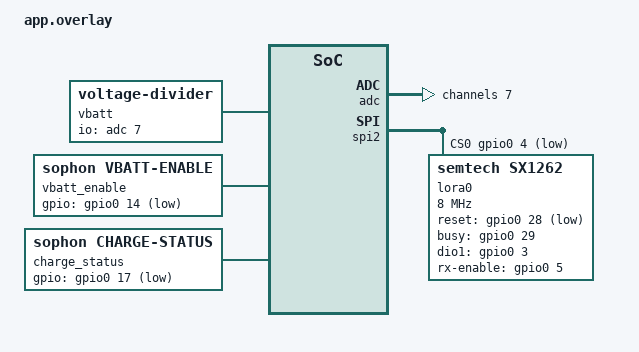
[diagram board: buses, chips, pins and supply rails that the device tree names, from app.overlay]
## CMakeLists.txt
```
cmake_minimum_required(VERSION 3.20.0)

find_package(Zephyr REQUIRED HINTS $ENV{ZEPHYR_BASE})
project(sophon)

# Freestanding app: the Zephyr revision comes from whatever ~/zephyrproject is
# at, not from this repo (there is no west.yml pinning it here). Fail at
# configure time with a readable message rather than on some unrelated compile
# error three layers down.
#
# Two traps here, both verified against cmake/modules/version.cmake:
#   - the variable is ZEPHYR_VERSION_CODE, NOT CONFIG_ZEPHYR_VERSION_CODE.
#     Guarding on the latter is silently dead -- it is never defined, so the
#     check passes on every version.
#   - ZEPHYR_VERSION is a BOOLEAN (set to TRUE), not a version string. The
#     human-readable one is PROJECT_VERSION_STR.
#
# The code is a decimal int: (major << 16) | (minor << 8) | patchlevel.
# 4.5.0 (#379): the XIAO nRF54LM20A builds rely on its board-file and Bluetooth
# controller fixes (clock nodes, the RRAM write sync, the RRAM load commit), and
# the nRF52840 overlay relies on its ADC cells. sophon-installer and
# sophon-dumper stay at 4.4.0: nothing in them needs 4.5.
set(SOPHON_MIN_ZEPHYR_CODE 263424) # 4.5.0

if(ZEPHYR_VERSION_CODE LESS SOPHON_MIN_ZEPHYR_CODE)
  message(FATAL_ERROR
    "Sophon requires Zephyr >= 4.5.0; found ${PROJECT_VERSION_STR} at ${ZEPHYR_BASE}. "
    "Run 'west update' in ~/zephyrproject.")
endif()

target_sources(app PRIVATE
  src/main.c
  src/battery.c
  src/ble.c
  src/config.c
  src/ident.c
  src/imu.c
  src/lora_ber.c
  src/lora_codec.c
  src/lora_lock.c
  src/lora_image.c
  src/lora_link.c
  src/lora_presets.c
  src/role.c
  src/slow_work.c
)

# Build timestamp, regenerated on every build.
#
# The second OUTPUT below is a file the command never creates, which is the
# standard way to force a custom command to re-run each time. Without it the
# timestamp would only move when something else triggered a rebuild of this
# rule, which is exactly the staleness the generator exists to avoid.
#
# Own directory rather than Zephyr's generated one: in this file
# PROJECT_BINARY_DIR is the build root, while Zephyr's headers land under
# build/zephyr/include/generated -- a distinction that is easy to get wrong and
# fails only at compile time.
set(SOPHON_GEN_DIR ${PROJECT_BINARY_DIR}/sophon_generated)
set(SOPHON_BUILD_TIME_H ${SOPHON_GEN_DIR}/sophon_build_time.h)

add_custom_command(
  OUTPUT ${SOPHON_BUILD_TIME_H} sophon_build_time_always
  COMMAND ${CMAKE_COMMAND} -DOUT_FILE=${SOPHON_BUILD_TIME_H}
          -P ${CMAKE_CURRENT_SOURCE_DIR}/cmake/gen_build_time.cmake
  COMMENT "Generating Sophon build timestamp"
)
add_custom_target(sophon_build_time DEPENDS ${SOPHON_BUILD_TIME_H})
add_dependencies(app sophon_build_time)
target_include_directories(app PRIVATE ${SOPHON_GEN_DIR})
```

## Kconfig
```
# Sophon application options. Zephyr picks this file up from the application
# directory by itself; it must end by sourcing Kconfig.zephyr.

menu "Sophon LoRa relay (#303)"

config SOPHON_LORA_PRESET
	int "LoRa air-rate preset id"
	range 0 8
	default 7
	help
	  Index into src/lora_presets.c, the same ids LORA-PROTOCOL.md § Presets
	  lists: 0 V0, 1 V1, 2 V3, 3 V3b, 4 V4, 5 V5, 6 V5b, 7 V6, 8 V6b.
	  Both ends are built from one image, so they always agree. V6 (V3 at
	  +22 dBm) is the default (#321); the walk test may still choose another.

config SOPHON_LORA_FREQ_HZ
	int "LoRa carrier frequency (Hz)"
	default 915000000
	help
	  A single fixed channel. At 500 kHz bandwidth that needs no frequency
	  hopping under FCC 15.247 (LORA-UPDATED-PLAN.md § Radio parameters).

config SOPHON_LORA_PEER_ID
	hex "Sensor id the gateway accepts (0 = lock onto the first heard)"
	range 0x0 0xffff
	default 0x0
	help
	  The low 16 bits of the sensor's FICR id -- the XXXX of its
	  Sophon-XXXX name. The id travels only in status trailers, so the
	  filter is applied to those; see LORA-PROTOCOL.md.

endmenu

source "Kconfig.zephyr"
```

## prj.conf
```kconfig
# Sophon -- BLE motion peripheral (#208)

CONFIG_BT=y
CONFIG_BT_PERIPHERAL=y
CONFIG_BT_MAX_CONN=1
CONFIG_BT_DEVICE_NAME="Sophon"
# Required to replace the name at runtime with the FICR-derived one.
CONFIG_BT_DEVICE_NAME_DYNAMIC=y
# "Sophon-A3F2" is 11 chars; default 28 just wastes RAM.
CONFIG_BT_DEVICE_NAME_MAX=16

# ATT MTU is left at the default 23 deliberately -- see PROTOCOL.md. The 18-byte
# frame fits one radio packet, so no fragmentation or reassembly is needed.
# No CONFIG_BT_SMP: the link is unencrypted and does not pair.

# --- Transmit buffer pools ---
#
# Zephyr's default is 3 buffers in flight, which is the floor and was chosen for
# a stack that sends occasionally. This one notifies at ~54 Hz.
#
# The arithmetic: a sample every 18.4 ms against a connection interval iOS may
# set as high as 45 ms means up to ~2.5 samples accumulate between radio events.
# Three buffers therefore have almost no margin -- one missed connection event,
# or a concurrent read of the stats characteristic, exhausts the pool and the
# notify is refused. Measured on hardware at the default: about one refusal
# every 80 seconds over a 17-minute run (13 in 56000 frames).
#
# 8 covers two consecutive missed events plus a concurrent read. Raising the
# pool attacks the cause; the alternative -- retrying a refused frame -- only
# treats the symptom and pays for it in tail latency.
#
# Confirmed on hardware, same device and same usage on both sides so the
# comparison is like for like -- an iPad mini with the app in the foreground:
#
#   3 buffers: 13 refusals in 56000 frames (about one per 80 seconds)
#   8 buffers:  0 refusals in 84000 frames
#
# Measure this on a device that stays awake. A phone that sleeps produces
# refusals no pool size can prevent: iOS stretches the connection interval for
# power, so several samples pile up between radio events, and deep sleep drops
# the link outright and discards whatever was queued. A sleeping iPhone logged
# 26 refusals in 51000 frames on this same firmware -- that number measures
# iOS's power management, not this setting, and raising the pool will not move
# it. 8 is where the returns stop being worth the RAM.
#
# These three must move together: the smallest of them is what actually binds.
# There were four until Zephyr 4.5 removed CONFIG_BT_CONN_TX_MAX (#379): the
# number of pending TX buffers with a callback now always follows
# CONFIG_BT_BUF_ACL_TX_COUNT, so it is still 8.
CONFIG_BT_BUF_ACL_TX_COUNT=8
CONFIG_BT_L2CAP_TX_BUF_COUNT=8
CONFIG_BT_ATT_TX_COUNT=8

# Per-chip identity from the nRF52840 FICR, so one image suits every board.
CONFIG_HWINFO=y

# The XIAO has no UART-to-USB bridge, so USB CDC ACM is the only console --
# but nothing is set here for it. The board already does the whole job via
# boards/common/usb/Kconfig.cdc_acm_serial.defconfig, which turns on
# USB_DEVICE_STACK_NEXT, CDC_ACM_SERIAL_INITIALIZE_AT_BOOT, and a 4000 ms
# LOG_PROCESS_THREAD_STARTUP_DELAY_MS so the boot banner survives enumeration.
#
# Setting CONFIG_USB_DEVICE_STACK=y here links the LEGACY stack alongside the
# new one and the build fails at link time with a duplicate __device_dts_ord_*
# symbol. If that error appears, something has re-added the old stack.

CONFIG_LOG=y
CONFIG_GPIO=y

# --- IMU: LSM6DS3TR-C on I2C 0x6a, driven by st,lsm6dsl (#209) ---
CONFIG_SENSOR=y
CONFIG_LSM6DSL=y
# CONFIG_I2C is selected by the driver. CONFIG_REGULATOR is already on in the
# board defconfig, which is what brings the sensor's power rail (gpio1 8) up --
# it is regulator-boot-on, so nothing here has to sequence it.

# Data-ready trigger on gpio0 11, so sampling is paced by the sensor rather than
# by a timer that drifts against it.
#
# OWN_THREAD, not GLOBAL_THREAD: the handler does a blocking I2C read ~54 times a
# second. On the global thread that lands on the system work queue, which this
# app also uses to transmit frames, restart advertising after a disconnect, and
# summarise the transmit counters -- putting a 54 Hz blocking I2C consumer in
# front of all three delays them. A dedicated thread costs a stack and isolates
# the sampling path from the transmit path.
#
# Note the handler does NOT transmit; it hands the frame to the sysqueue. That
# separation is mandatory, not stylistic -- bt_gatt_notify() blocks with
# K_FOREVER off-sysqueue, and a blocked handler strands the data-ready line and
# kills the stream for good. See the tx_queue comment in src/main.c.
CONFIG_LSM6DSL_TRIGGER_OWN_THREAD=y
# 1024 is the driver default, sized for a handler that only reads a sensor --
# which, since the notify moved to the sysqueue, is now all this one does. Kept
# at 2048 for margin over the driver's float-based unit conversion; it is 1 KB
# against 240 KB free.
CONFIG_LSM6DSL_THREAD_STACK_SIZE=2048

# ODR code 3 = 52 Hz on both channels. Not 50: the LSM6DSL's rate grid has no
# such step (12.5 / 26 / 52 / 104 ...), and 52 is the nearest. See imu.h for why
# taking the sensor's own rate beats resampling it onto a 50 Hz timer.
#
# Both channels must match -- the data-ready line is the OR of the two.
CONFIG_LSM6DSL_ACCEL_ODR=3
CONFIG_LSM6DSL_GYRO_ODR=3

# Full-scale ranges. Both are pinned by the frozen 18-byte frame, not by taste:
#
#   gyro 250 dps -- centi-deg/s in an int16 saturates at 327.67 dps, so this is
#     the largest standard range the wire format can carry. 500 would clip every
#     fast rotation into a flat top that still looks like data.
#   accel 4 g -- the wire quantises to 1 mg and the sensor resolves 0.122 mg/LSB
#     at this range, so the frame is the limit either way; the choice is purely
#     about where clipping starts. 4 g clears ordinary handling of a strapped
#     object. Raising it to 8 or 16 costs nothing on the wire.
#
# imu.c asserts both at compile time.
CONFIG_LSM6DSL_ACCEL_FS=4
CONFIG_LSM6DSL_GYRO_FS=250

# Radio transmit power.
#
# -4 dBm, arrived at by MEASUREMENT after stepping up twice.
#
# Measured on this board, streaming to an iPad:
#   -16 dBm  lost-on-link climbed sharply beyond ~1 m
#    -8 dBm  still climbing at desk range, line of sight
#    -4 dBm  <- current
#
# A free-space link budget predicted ~8-10 m at -16 dBm. It was wrong by about an
# order of magnitude, and the same model then over-predicted -8 dBm too, so no
# distance figure here is derived any more. What the budget leaves out is most of
# what matters: the XIAO's small chip antenna, the board lying flat on a desk,
# 2.4 GHz congestion, and the fact that a CLEAN link needs far more margin than a
# link that merely connects.
#
# Note the baseline this departs from. Every prior Sophon measurement -- the
# 84,000-frame iPad runs in #209, and all of #226 and #228 -- was taken at 0 dBm,
# Zephyr's default. Lowering power is a change to a validated configuration, so
# if loss is still elevated here, go back to CONFIG_BT_CTLR_TX_PWR_0 rather than
# continuing to inch upward; the airtime saving is not worth an unreliable link.

# This value is ALSO advertised, as the standard TX Power AD type -- see
# src/version.h and PROTOCOL.md. A central estimates distance as
# (TX power - RSSI), so a value here that the radio does not actually use would
# corrupt that estimate on every scanner, not just ours.
#
# Which is why the choice below matters. The nRF52840 radio has these steps, and
# ONLY these (see hal_radio_tx_power_value() in
# zephyr/subsys/bluetooth/controller/ll_sw/nordic/hal/nrf5/radio/radio_nrf52840.h):
#
#   CONFIG_BT_CTLR_TX_PWR_PLUS_8     +8 dBm   max; needs HAS_HW_NRF_RADIO_TX_PWR_HIGH (this SoC has it)
#   CONFIG_BT_CTLR_TX_PWR_PLUS_7     +7 dBm
#   CONFIG_BT_CTLR_TX_PWR_PLUS_6     +6 dBm
#   CONFIG_BT_CTLR_TX_PWR_PLUS_5     +5 dBm
#   CONFIG_BT_CTLR_TX_PWR_PLUS_4     +4 dBm
#   CONFIG_BT_CTLR_TX_PWR_PLUS_3     +3 dBm
#   CONFIG_BT_CTLR_TX_PWR_PLUS_2     +2 dBm
#   CONFIG_BT_CTLR_TX_PWR_0           0 dBm   Zephyr's default
#   CONFIG_BT_CTLR_TX_PWR_MINUS_4    -4 dBm   <-- selected
#   CONFIG_BT_CTLR_TX_PWR_MINUS_8    -8 dBm   measured: still lossy at desk range, line of sight
#   CONFIG_BT_CTLR_TX_PWR_MINUS_12  -12 dBm
#   CONFIG_BT_CTLR_TX_PWR_MINUS_16  -16 dBm   measured: lossy beyond ~1 m
#   CONFIG_BT_CTLR_TX_PWR_MINUS_20  -20 dBm
#   CONFIG_BT_CTLR_TX_PWR_MINUS_40  -40 dBm   near-field only
#
# Kconfig offers more options than that (-1, -2, -3, -9, -10, -14, ...) because
# the choice is shared across Nordic SoC families. On THIS one they are not real:
# hal_radio_tx_power_value() rounds DOWN through a >= chain, so -1 dBm programs
# the -4 dBm register while CONFIG_BT_CTLR_TX_PWR_DBM still reports -1 -- and
# that reported value is what we advertise. Picking a non-native step therefore
# puts a 3 dB lie on the air. Use only the steps listed above.
CONFIG_BT_CTLR_TX_PWR_MINUS_4=y

# --- Battery voltage: 1M/510k divider on AIN7, gated by P0.14 (#268) ---
#
# CONFIG_ADC is pulled in by the voltage-divider driver, but is stated here
# because it is the thing a reader looks for and an implicit dependency is not
# obvious from this file.
#
# No fuel gauge exists on this board -- the BQ25101 is a charger -- so there is
# deliberately no CONFIG_FUEL_GAUGE and nothing derives a percentage or a
# capacity. Terminal voltage is the only quantity actually measured; see
# PROTOCOL.md for why anything further would be modelled rather than observed.
CONFIG_ADC=y
CONFIG_VOLTAGE_DIVIDER=y

# No CONFIG_PM_DEVICE, and no power-gpios on the vbatt node. Both were added to
# make the driver release P0.14 between samples; that turned out to be the one
# thing this board must not do. Seeed's FAQ warns that P0.14 HIGH can push P0.31
# to its 3.6 V limit, and the divider arithmetic puts it there exactly at a full
# pack. battery.c holds the pin low for the life of the application instead.
#
# Dropping CONFIG_PM_DEVICE also removes the trip hazard that killed the IMU:
# enabling device runtime PM alongside it changed every device's lifecycle and
# stopped the LSM6DS3TR-C data-ready trigger firing.

# --- MCUmgr: SMP over BLE, for OTA with rollback (#271) ---
#
# Lives in mcuboot/app-mcuboot.conf, which scripts/build.sh applies to MCUboot
# builds only (#306). The image manager needs a slot0_partition that only the
# MCUboot partition overlay defines, so having it here broke every UF2 build
# from #271 until #306.

# ATT MTU deliberately UNCHANGED at 23 for now. Raising it to 247 with DLE is
# worth roughly 4-6x of wall clock by the arithmetic in #271, but that is a
# model: the first upload is measured at the default so the raise can be
# justified by a before/after rather than by prediction.

# --- LoRa: Seeed Wio-SX1262 on SPI (#303) ---
#
# Both boot paths, so the UF2 build keeps compiling (#306). The node is in
# boards/common/wio-sx1262.dtsi with zephyr,deferred-init; src/role.c decides
# whether to start it.
#
# loramac-node is named rather than left to the backend choice's ordering: the
# native driver is the other candidate for an SX1262, and #303 chose this one
# (see role.c for the one property of it that needs guarding).
CONFIG_SPI=y
CONFIG_LORA=y
CONFIG_LORA_MODULE_BACKEND_LORAMAC_NODE=y
```

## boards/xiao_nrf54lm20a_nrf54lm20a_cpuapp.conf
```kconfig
# Sophon on the XIAO nRF54LM20A Sense: board-specific Kconfig (#370), merged on
# top of prj.conf by Zephyr for this board only.

# --- RRAM writes time out while a BLE link is up -------------------------------
#
# With Zephyr's own controller (BT_LL_SW_SPLIT) the RRAM driver synchronises
# every write with the radio (SOC_FLASH_NRF_RADIO_SYNC_TICKER), and its write
# buffer then defaults to ONE 128-bit line. That sets the radio slot it asks for
# to FLASH_SLOT_WRITE = 500 us (soc_flash_nrf_rram.c). The ticker backend
# (subsys/bluetooth/controller/flash/soc_flash_nrf_ticker.c) sets the slot
# interval to that duration minus FLASH_SYNC_SWITCHING_TIME, 1500 + 200 =
# 1700 us -- and 500 - 1700 underflows a uint32_t. The first slot runs; the next
# is scheduled impossibly far away; and on the nRF54L each slot writes a single
# line, so any write longer than one line never finishes and fails after
# FLASH_TIMEOUT_MS (42 ms x 381 pages x 1.5 = ~24 s) with -ETIMEDOUT.
#
# Seen on Sophon-F9B0 (#370): an MCUmgr image upload over BLE failed at its
# first flush, `flash_write error -116 offset=0x00103000`, 25 s in. Anything
# that writes RRAM while connected -- OTA, and the config record -- hits it.
#
# 32 lines, the maximum, gives an 8000 us slot and a 6300 us interval. With it
# the same upload took 22 s and the full test / revert / confirm cycle passed.
# Reported upstream with the other board findings (#375, #376); remove this
# once the driver or the ticker handles short slots.
CONFIG_NRF_RRAM_WRITE_BUFFER_SIZE=32
```

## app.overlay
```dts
/*
 * Battery voltage sensing on the XIAO nRF52840 (#268).
 *
 * The board files define nothing for this -- no divider node, no named enable
 * pin -- and `&adc` is enabled with no channel children, so both halves below
 * have to come from the application.
 *
 * `app.overlay` rather than `boards/xiao_ble_nrf52840_sense.overlay` because
 * the divider is on the XIAO nRF52840 module itself, shared by the Sense and
 * the plain variant -- and the Sense image runs on a plain board too
 * (Sophon-01A7, #301).
 */

#include <zephyr/dt-bindings/adc/adc.h>
#include <zephyr/dt-bindings/adc/nrf-saadc.h>
#include <zephyr/dt-bindings/gpio/gpio.h>
#include <zephyr/dt-bindings/lora/sx126x.h>

/ {
	vbatt: vbatt {
		compatible = "voltage-divider";
		io-channels = <&adc 7>;

		/*
		 * R16 = 1M 1% upper (from VBAT), R17 = 499k 1% lower (to P0.14).
		 *
		 * From the KiCad SOURCE, not from a PDF export -- and the difference
		 * mattered. Seeed publishes two zips: the wiki's
		 * Seeed_Studio_XIAO_nRF52840_Plus_SCH_PCB_v1.1.zip contains a PDF of
		 * board rev **v1.0**, where R17 is 510k, while
		 * Seeed_Studio_XIAO_nRF52840_Plus.zip carries the .kicad_sch for
		 * **v1.1** with R17 = 499k. The wiki zip is NAMED v1.1 and holds the
		 * v1.0 schematic, which is how the wrong value got in here first.
		 *
		 * 510k vs 499k is a 1.46% change in the ratio -- about 60 mV at a
		 * full pack. Exactly the class of error that produces a completely
		 * plausible reading, which is why this is taken from the design
		 * source rather than an export or from recollection.
		 *
		 * Netlist-confirmed, not read off a picture:
		 *   VBAT (U2.A1 OUT, BAT0, C30) - R16.1
		 *   R16.2 = R17.1 = P0.31_AIN7_BAT (U1.A8)
		 *   R17.2 = P0.14_~{READ_BAT} (U1.AC9)
		 *
		 * `output-ohms` is the LOWER leg and `full-ohms` the whole path.
		 * Swapping them scales every reading by a constant.
		 *
		 * 1% on each bounds the ratio error at about +/-1.35%, roughly
		 * +/-55 mV at a full pack, before the SAADC's own gain and reference
		 * error. Do not present this to more precision than that.
		 *
		 * UNRESOLVED: which revision this board is. A meter across the pack
		 * settles it -- the two configurations differ by ~60 mV, well inside
		 * what any meter resolves. See TEST-PLAN section 5.
		 */
		output-ohms = <499000>;
		full-ohms = <(1000000 + 499000)>;

		/*
		 * NO power-gpios, deliberately -- P0.14 is held low permanently and
		 * battery.c owns it. Handing it to the driver means the driver
		 * RELEASES it between samples, and on this board there is no safe
		 * released state.
		 *
		 * Seeed's own FAQ: "When P0.14 is set HIGH, the battery voltage
		 * reading path is disabled and P0.31 may reach the input voltage
		 * limit of 3.6V, posing a risk of damaging the P0.31 pin."
		 *
		 * The arithmetic agrees. P0.14 is the divider's LOW leg, so with it
		 * driven high AIN7 sits at 3.3 + (Vbat - 3.3) * 499/1499, which at a
		 * full 4.2 V pack is exactly 3.60 V -- the absolute maximum. Leaving
		 * the pin high-impedance is worse: nothing holds the node down, so
		 * R16 pulls it to the full pack voltage and the ESD clamp conducts.
		 *
		 * Holding it low keeps AIN7 at ~1.4 V, which is the only state that
		 * is unconditionally safe. The cost is the divider drawing ~2.8 uA
		 * continuously -- about 25 mAh a year, against a 200 mAh pack whose
		 * own self-discharge is several times that. Worth paying.
		 *
		 * Recorded because the enable pin LOOKS like a power-saving control
		 * and inviting it to save power is what creates the hazard.
		 */

	};

	/*
	 * The enable pin as a plain GPIO the application drives, deliberately not
	 * as the divider's `power-gpios`. See the note above.
	 */
	vbatt_enable: vbatt-enable {
		compatible = "sophon,vbatt-enable";
		gpios = <&gpio0 14 GPIO_ACTIVE_LOW>;
	};

	/*
	 * The charger's /CHG (#323): BQ25101 ball C1, open drain, low while
	 * charging. The net also carries the green charge LED from 3V3 through
	 * R5, which pulls a released pin only weakly toward 3V3 -- hence the
	 * internal pull-up. Harmless even if the part were the BQ25100, whose C1
	 * is PRETERM: the LED already ties that net to 3V3.
	 */
	charge_status: charge-status {
		compatible = "sophon,charge-status";
		gpios = <&gpio0 17 (GPIO_ACTIVE_LOW | GPIO_PULL_UP)>;
	};
};

&adc {
	#address-cells = <1>;
	#size-cells = <0>;

	/*
	 * AIN7 = P0.31, fixed silicon mapping. Note AIN6 is P0.30, which the
	 * board uses for LED1 -- the neighbouring channel is already spoken
	 * for, so AIN7 is not merely free but the correct choice.
	 *
	 * Gain 1/4 against the internal 0.6 V reference gives a 2.4 V full
	 * scale. A 4.2 V pack through this divider presents
	 * 4.2 * 510/1510 = 1.42 V, so there is headroom without wasting range:
	 * gain 1/2 (1.2 V FS) would clip, and 1/6 (3.6 V FS) would throw away
	 * a third of the resolution.
	 */
	channel@7 {
		reg = <7>;
		zephyr,gain = "ADC_GAIN_1_4";
		zephyr,reference = "ADC_REF_INTERNAL";
		zephyr,vref-mv = <600>;
		/*
		 * 40 us, the longest the SAADC offers. The source is the divider's
		 * Thevenin resistance, 1M || 499k = 333 kOhm, with no capacitor on
		 * AIN7 to hold the node. The nRF52840 PS (SAADC, Acquisition time,
		 * Table 1) allows 100 kOhm at 10 us and 400 kOhm at 20 us, the
		 * shortest that covers it; 40 us allows 800 kOhm, for margin. At
		 * the 10 us default the sampling capacitor did not charge in time:
		 * readings came out 100-300 mV low, by an amount that varied with
		 * the level (#319). At 40 us a pack metered at 4.08 V reads 4.03 V,
		 * within the divider's tolerance, and the charger's 4.2 V
		 * regulation reads 4.2 V.
		 */
		zephyr,acquisition-time = <ADC_ACQ_TIME(ADC_ACQ_TIME_MICROSECONDS, 40)>;
		zephyr,resolution = <12>;
		zephyr,input-positive = <NRF_SAADC_AIN7>;
	};
};

/*
 * Seeed Wio-SX1262 for XIAO (#303). Same pins on the sensor and the gateway;
 * from Meshtastic's seeed_xiao_nrf52840_kit/variant.h, checked against
 * seeed_xiao_connector.dtsi. See LORA-PLAN.md § Hardware / wiring.
 *
 *   NSS D4 P0.04   DIO1 D1 P0.03   RESET D2 P0.28   BUSY D3 P0.29   RXEN D5 P0.05
 *   SCK/MISO/MOSI D8/D9/D10 = xiao_spi (spi2)
 *
 * D4/D5 are xiao_i2c's pins, and Sophon puts nothing on that bus -- the Sense
 * IMU is on the internal i2c0 -- so i2c1 is disabled to free them.
 *
 * zephyr,deferred-init: the loramac-node driver's SX126xWaitOnBusy() has no
 * timeout, and on a board with no Wio fitted BUSY floats. src/role.c checks
 * the radio is really there (it reads the sync-word register over raw SPI)
 * before calling device_init(); a board without one never runs the driver.
 */
&i2c1 {
	status = "disabled";
};

&spi2 {
	status = "okay";
	cs-gpios = <&gpio0 4 GPIO_ACTIVE_LOW>;

	lora0: lora@0 {
		compatible = "semtech,sx1262";
		reg = <0>;
		spi-max-frequency = <DT_FREQ_M(8)>;
		reset-gpios = <&gpio0 28 GPIO_ACTIVE_LOW>;
		busy-gpios = <&gpio0 29 GPIO_ACTIVE_HIGH>;
		dio1-gpios = <&gpio0 3 GPIO_ACTIVE_HIGH>;
		rx-enable-gpios = <&gpio0 5 GPIO_ACTIVE_HIGH>;
		dio2-tx-enable;
		dio3-tcxo-voltage = <SX126X_DIO3_TCXO_1V8>;
		tcxo-power-startup-delay-ms = <5>;
		rx-boosted;
		zephyr,deferred-init;
	};
};
```

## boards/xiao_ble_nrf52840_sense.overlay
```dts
/*
 * Battery voltage sensing on the XIAO nRF52840 (#268).
 *
 * The board files define nothing for this -- no divider node, no named enable
 * pin -- and `&adc` is enabled with no channel children, so both halves below
 * have to come from the application.
 *
 * This was `app.overlay` until the nRF54LM20A joined (#373). Zephyr applies
 * `app.overlay` only when no `boards/<board>.overlay` exists, so with two MCUs
 * each board's devicetree has to be its own file. This one is the only
 * nRF52840 target Sophon builds; the divider is on the XIAO nRF52840 module
 * itself, shared by the Sense and the plain variant, and the Sense image runs
 * on a plain board too (Sophon-01A7, #301).
 */

#include <zephyr/dt-bindings/adc/adc.h>
#include <zephyr/dt-bindings/adc/nrf-saadc.h>
#include <zephyr/dt-bindings/gpio/gpio.h>

/ {
	vbatt: vbatt {
		compatible = "voltage-divider";
		io-channels = <&adc 7>;

		/*
		 * R16 = 1M 1% upper (from VBAT), R17 = 499k 1% lower (to P0.14).
		 *
		 * From the KiCad SOURCE, not from a PDF export -- and the difference
		 * mattered. Seeed publishes two zips: the wiki's
		 * Seeed_Studio_XIAO_nRF52840_Plus_SCH_PCB_v1.1.zip contains a PDF of
		 * board rev **v1.0**, where R17 is 510k, while
		 * Seeed_Studio_XIAO_nRF52840_Plus.zip carries the .kicad_sch for
		 * **v1.1** with R17 = 499k. The wiki zip is NAMED v1.1 and holds the
		 * v1.0 schematic, which is how the wrong value got in here first.
		 *
		 * 510k vs 499k is a 1.46% change in the ratio -- about 60 mV at a
		 * full pack. Exactly the class of error that produces a completely
		 * plausible reading, which is why this is taken from the design
		 * source rather than an export or from recollection.
		 *
		 * Netlist-confirmed, not read off a picture:
		 *   VBAT (U2.A1 OUT, BAT0, C30) - R16.1
		 *   R16.2 = R17.1 = P0.31_AIN7_BAT (U1.A8)
		 *   R17.2 = P0.14_~{READ_BAT} (U1.AC9)
		 *
		 * `output-ohms` is the LOWER leg and `full-ohms` the whole path.
		 * Swapping them scales every reading by a constant.
		 *
		 * 1% on each bounds the ratio error at about +/-1.35%, roughly
		 * +/-55 mV at a full pack, before the SAADC's own gain and reference
		 * error. Do not present this to more precision than that.
		 *
		 * UNRESOLVED: which revision this board is. A meter across the pack
		 * settles it -- the two configurations differ by ~60 mV, well inside
		 * what any meter resolves. See TEST-PLAN section 5.
		 */
		output-ohms = <499000>;
		full-ohms = <(1000000 + 499000)>;

		/*
		 * NO power-gpios, deliberately -- P0.14 is held low permanently and
		 * battery.c owns it. Handing it to the driver means the driver
		 * RELEASES it between samples, and on this board there is no safe
		 * released state.
		 *
		 * Seeed's own FAQ: "When P0.14 is set HIGH, the battery voltage
		 * reading path is disabled and P0.31 may reach the input voltage
		 * limit of 3.6V, posing a risk of damaging the P0.31 pin."
		 *
		 * The arithmetic agrees. P0.14 is the divider's LOW leg, so with it
		 * driven high AIN7 sits at 3.3 + (Vbat - 3.3) * 499/1499, which at a
		 * full 4.2 V pack is exactly 3.60 V -- the absolute maximum. Leaving
		 * the pin high-impedance is worse: nothing holds the node down, so
		 * R16 pulls it to the full pack voltage and the ESD clamp conducts.
		 *
		 * Holding it low keeps AIN7 at ~1.4 V, which is the only state that
		 * is unconditionally safe. The cost is the divider drawing ~2.8 uA
		 * continuously -- about 25 mAh a year, against a 200 mAh pack whose
		 * own self-discharge is several times that. Worth paying.
		 *
		 * Recorded because the enable pin LOOKS like a power-saving control
		 * and inviting it to save power is what creates the hazard.
		 */

	};

	/*
	 * The enable pin as a plain GPIO the application drives, deliberately not
	 * as the divider's `power-gpios`. See the note above.
	 */
	vbatt_enable: vbatt-enable {
		compatible = "sophon,vbatt-enable";
		gpios = <&gpio0 14 GPIO_ACTIVE_LOW>;
	};

	/*
	 * The charger's /CHG (#323): BQ25101 ball C1, open drain, low while
	 * charging. The net also carries the green charge LED from 3V3 through
	 * R5, which pulls a released pin only weakly toward 3V3 -- hence the
	 * internal pull-up. Harmless even if the part were the BQ25100, whose C1
	 * is PRETERM: the LED already ties that net to 3V3.
	 */
	charge_status: charge-status {
		compatible = "sophon,charge-status";
		gpios = <&gpio0 17 (GPIO_ACTIVE_LOW | GPIO_PULL_UP)>;
	};
};

/*
 * No #address-cells / #size-cells here: since Zephyr 4.5 nrf52840.dtsi sets
 * them on adc@40007000 itself (81266b8dc55), and repeating them changed
 * nothing (#379, #380).
 */
&adc {
	/*
	 * AIN7 = P0.31, fixed silicon mapping. Note AIN6 is P0.30, which the
	 * board uses for LED1 -- the neighbouring channel is already spoken
	 * for, so AIN7 is not merely free but the correct choice.
	 *
	 * Gain 1/4 against the internal 0.6 V reference gives a 2.4 V full
	 * scale. A 4.2 V pack through this divider presents
	 * 4.2 * 510/1510 = 1.42 V, so there is headroom without wasting range:
	 * gain 1/2 (1.2 V FS) would clip, and 1/6 (3.6 V FS) would throw away
	 * a third of the resolution.
	 */
	channel@7 {
		reg = <7>;
		zephyr,gain = "ADC_GAIN_1_4";
		zephyr,reference = "ADC_REF_INTERNAL";
		zephyr,vref-mv = <600>;
		/*
		 * 40 us, the longest the SAADC offers. The source is the divider's
		 * Thevenin resistance, 1M || 499k = 333 kOhm, with no capacitor on
		 * AIN7 to hold the node. The nRF52840 PS (SAADC, Acquisition time,
		 * Table 1) allows 100 kOhm at 10 us and 400 kOhm at 20 us, the
		 * shortest that covers it; 40 us allows 800 kOhm, for margin. At
		 * the 10 us default the sampling capacitor did not charge in time:
		 * readings came out 100-300 mV low, by an amount that varied with
		 * the level (#319). At 40 us a pack metered at 4.08 V reads 4.03 V,
		 * within the divider's tolerance, and the charger's 4.2 V
		 * regulation reads 4.2 V.
		 */
		zephyr,acquisition-time = <ADC_ACQ_TIME(ADC_ACQ_TIME_MICROSECONDS, 40)>;
		zephyr,resolution = <12>;
		zephyr,input-positive = <NRF_SAADC_AIN7>;
	};
};

#include "common/wio-sx1262.dtsi"
```

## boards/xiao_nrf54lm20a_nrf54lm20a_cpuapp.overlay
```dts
/*
 * Sophon on the XIAO nRF54LM20A Sense (#370; the rest of this board's
 * devicetree arrives with the direct-role port, NRF54LM20A-PLAN.md Phase 3).
 *
 * THE CLOCK NODES THE BOARD FILE LEAVES OFF.
 *
 * Zephyr's boards/seeed/xiao_nrf54lm20a (at 4.4.99, 2026-08-08) enables the
 * SoC's `lfxo` and `hfxo` but none of the nodes this Zephyr's clock driver
 * uses: `xo`, `lfclk` and `xo24m`, all `status = "disabled"` in
 * nrf54lm20_a_b.dtsi. The Bluetooth controller looks up an enabled
 * `nordic,nrf-clock-lfclk` for its sleep-clock accuracy (lll_clock.c,
 * DT_COMPAT_GET_ANY_STATUS_OKAY), finds none, and fails to COMPILE:
 *
 *     error: '__P_k32src_accuracy_ppm_IDX_0_ENUM_IDX' undeclared
 *
 * So no Bluetooth application builds for this board -- Zephyr's own
 * samples/bluetooth/peripheral included, unmodified (#370). Nordic's
 * nrf54lm20dk enables exactly these three; doing the same here fixes the build.
 *
 * `lfclk` keeps its binding defaults: k32src "xtal", 50 ppm. The board has a
 * 32.768 kHz crystal (X1, 7 pF, +/-20 ppm, per the KiCad V1.0 schematic), so a
 * crystal source and a 50 ppm accuracy class are both honest.
 *
 * To be removed once the board file is fixed upstream.
 */

&xo {
	status = "okay";
};

&lfclk {
	status = "okay";
};

&xo24m {
	status = "okay";
};
```

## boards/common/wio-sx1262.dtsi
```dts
/*
 * Seeed Wio-SX1262 for XIAO, shared by every board that carries one (#373).
 *
 * Moved out of the nRF52840 board overlay unchanged. It still names the
 * nRF52840's own pins and buses; moving it onto the XIAO connector's
 * &xiao_spi / &xiao_d, so the nRF54LM20A can include it too, is part of the
 * port (NRF54LM20A-PLAN.md, Phase 3).
 */

#include <zephyr/dt-bindings/lora/sx126x.h>

/*
 * Seeed Wio-SX1262 for XIAO (#303). Same pins on the sensor and the gateway;
 * from Meshtastic's seeed_xiao_nrf52840_kit/variant.h, checked against
 * seeed_xiao_connector.dtsi. See LORA-PLAN.md § Hardware / wiring.
 *
 *   NSS D4 P0.04   DIO1 D1 P0.03   RESET D2 P0.28   BUSY D3 P0.29   RXEN D5 P0.05
 *   SCK/MISO/MOSI D8/D9/D10 = xiao_spi (spi2)
 *
 * D4/D5 are xiao_i2c's pins, and Sophon puts nothing on that bus -- the Sense
 * IMU is on the internal i2c0 -- so i2c1 is disabled to free them.
 *
 * zephyr,deferred-init: the loramac-node driver's SX126xWaitOnBusy() has no
 * timeout, and on a board with no Wio fitted BUSY floats. src/role.c checks
 * the radio is really there (it reads the sync-word register over raw SPI)
 * before calling device_init(); a board without one never runs the driver.
 */
&i2c1 {
	status = "disabled";
};

&spi2 {
	status = "okay";
	cs-gpios = <&gpio0 4 GPIO_ACTIVE_LOW>;

	lora0: lora@0 {
		compatible = "semtech,sx1262";
		reg = <0>;
		spi-max-frequency = <DT_FREQ_M(8)>;
		reset-gpios = <&gpio0 28 GPIO_ACTIVE_LOW>;
		busy-gpios = <&gpio0 29 GPIO_ACTIVE_HIGH>;
		dio1-gpios = <&gpio0 3 GPIO_ACTIVE_HIGH>;
		rx-enable-gpios = <&gpio0 5 GPIO_ACTIVE_HIGH>;
		dio2-tx-enable;
		dio3-tcxo-voltage = <SX126X_DIO3_TCXO_1V8>;
		tcxo-power-startup-delay-ms = <5>;
		rx-boosted;
		zephyr,deferred-init;
	};
};
```

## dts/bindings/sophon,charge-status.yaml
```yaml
# Copyright (c) 2026
# SPDX-License-Identifier: Apache-2.0

description: |
  The battery charger's charge-status output, read by the application (#323).

  On the XIAO nRF52840 this is the BQ25101's /CHG, an open-drain output on ball
  C1, wired to P0.17 and to the green charge LED, whose anode returns to 3V3
  through R5. Low while the first charge cycle is in progress; released when it
  completes, when USB is absent, and when no pack is fitted.

  A binding of its own rather than borrowing `gpio-keys` or `gpio-leds`, which
  would describe the pin as something it is not.

compatible: "sophon,charge-status"

include: base.yaml

properties:
  gpios:
    type: phandle-array
    required: true
    description: |
      The status pin, ACTIVE = charging. Needs the internal pull-up: with /CHG
      released, the LED and R5 pull the net only weakly toward 3V3.
```

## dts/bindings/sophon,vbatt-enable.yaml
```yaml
# Copyright (c) 2026
# SPDX-License-Identifier: Apache-2.0

description: |
  Application-owned enable pin for the battery voltage divider (#268).

  Deliberately NOT the divider's `power-gpios`. That property hands the pin to
  Zephyr's voltage-divider driver, which releases it between samples -- and on
  the XIAO nRF52840 there is no safe released state: P0.14 is the divider's low
  leg, so releasing it lets AIN7 rise to the ADC pin's 3.6 V absolute maximum.

  A binding of its own rather than borrowing `gpio-leds`, which would instantiate
  an LED device and describe the pin as something it is not.

compatible: "sophon,vbatt-enable"

include: base.yaml

properties:
  gpios:
    type: phandle-array
    required: true
    description: The enable pin, with the polarity that makes ACTIVE = enabled.
```

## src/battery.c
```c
/*
 * Battery terminal voltage. See battery.h for what this deliberately does not
 * report, and why.
 */

#include <stdlib.h>

#include <zephyr/device.h>
#include <zephyr/devicetree.h>
#include <zephyr/drivers/gpio.h>
#include <zephyr/drivers/sensor.h>
#include <zephyr/kernel.h>
#include <zephyr/logging/log.h>

#include <hal/nrf_power.h>

#include "battery.h"
#include "ble.h"
#include "slow_work.h"

LOG_MODULE_REGISTER(sophon_battery, LOG_LEVEL_INF);

/*
 * The node from the board overlay. DT_NODELABEL rather than a DT_ALIAS: the
 * alias would be one more indirection to keep in step, and this app declares
 * the node itself (boards/xiao_ble_nrf52840_sense.overlay).
 */
#define VBATT_NODE DT_NODELABEL(vbatt)

#if !DT_NODE_EXISTS(VBATT_NODE)
#error "no vbatt node: the board overlay is not being applied. Check the build board."
#endif

static const struct device *const vbatt = DEVICE_DT_GET(VBATT_NODE);

/*
 * Written by the sampler work item, read by the GATT read handler on the
 * Bluetooth RX thread. Both are 16-bit and this is a single-producer,
 * single-consumer pair where a torn read would at worst mix a stale voltage
 * with a fresh timestamp -- but the two are reported together and a caller is
 * entitled to expect them to agree, so they are copied under a spinlock rather
 * than left to luck.
 */
static struct {
	uint16_t mv;
	uint8_t flags;
	int64_t at; /* k_uptime_get() when sampled; negative means never */
} state = {.mv = 0, .flags = 0, .at = -1};

static struct k_spinlock lock;

/*
 * How far a reading has to move before it is logged again. 50 mV is coarse
 * against a LiPo's 3.0-4.2 V span -- about 4% of it -- so the console shows the
 * shape of a charge or a discharge without reporting sampling noise.
 */
#define LOG_DELTA_MV 50

/*
 * One reading: SOPHON_BATTERY_SAMPLES conversions spread over roughly
 * SOPHON_BATTERY_SAMPLES * SOPHON_BATTERY_SAMPLE_GAP_MS, averaged.
 *
 * Each sensor_sample_fetch() switches the divider in, waits the settle delay
 * from the devicetree, converts, and switches it back out -- all inside the
 * driver, which is why nothing here touches P0.14.
 *
 * Returns millivolts, or 0 if every conversion failed.
 */
static uint16_t sample_once(void)
{
	struct sensor_value value;
	int32_t total_mv = 0;
	int taken = 0;

	for (int i = 0; i < SOPHON_BATTERY_SAMPLES; i++) {
		int err;

		if (i) {
			k_msleep(SOPHON_BATTERY_SAMPLE_GAP_MS);
		}

		err = sensor_sample_fetch(vbatt);
		if (err) {
			LOG_WRN("battery fetch failed (%d)", err);
			continue;
		}

		err = sensor_channel_get(vbatt, SENSOR_CHAN_VOLTAGE, &value);
		if (err) {
			LOG_WRN("battery channel read failed (%d)", err);
			continue;
		}

		/*
		 * The driver reports volts as val1 + val2/1e6, already scaled
		 * back up through the divider ratio from the devicetree. So this
		 * is the voltage at the PACK, not at the pin -- the scaling is
		 * not ours to apply and applying it again would double-count.
		 */
		total_mv += value.val1 * 1000 + value.val2 / 1000;
		taken++;
	}

	if (!taken) {
		return 0;
	}

	return (uint16_t)(total_mv / taken);
}

/*
 * The charger's /CHG (#323), active = charging. See the board overlay and
 * dts/bindings/sophon,charge-status.yaml.
 */
static const struct gpio_dt_spec charge_status =
	GPIO_DT_SPEC_GET(DT_NODELABEL(charge_status), gpios);
static bool charge_status_ok;

/*
 * The charge bits for the flags byte. KNOWN says this firmware reads /CHG at
 * all, so a clear CHARGING means "not charging" rather than "not asked".
 *
 * Only ever "charging" or "not charging". Released /CHG covers a full pack, no
 * pack, and USB absent alike -- and the VBAT swing that might separate the
 * first two misfired on a fitted pack (#319) -- so nothing further is claimed.
 * The BQ25101 also holds /CHG low for the first charge cycle only: a later
 * top-up of a full pack reads as not charging, which is the useful answer.
 */
static uint8_t charge_flags(void)
{
	if (!charge_status_ok) {
		return 0;
	}

	uint8_t flags = SOPHON_BATTERY_FLAG_CHG_KNOWN;

	if (gpio_pin_get_dt(&charge_status) == 1) {
		flags |= SOPHON_BATTERY_FLAG_CHARGING;
	}
	return flags;
}

static void sample_work_handler(struct k_work *work)
{
	uint16_t mv;

	ARG_UNUSED(work);

	mv = sample_once();

	/*
	 * A failed reading leaves the previous one in place rather than blanking
	 * it -- the same latching rule the app applies to displayName and
	 * identity. But the timestamp is NOT refreshed, so the value ages
	 * visibly instead of looking freshly measured. Blanking would throw away
	 * a good reading over one bad conversion; refreshing the timestamp would
	 * assert a measurement that did not happen.
	 */
	if (!mv) {
		return;
	}

	/*
	 * Captured WITH the sample, not when a central reads. The flag is what
	 * makes the voltage interpretable, so the two must describe the same
	 * instant -- a reading taken on battery and reported after USB was
	 * plugged in would otherwise be labelled as the charger's.
	 */
	uint8_t flags = nrf_power_usbregstatus_vbusdet_get(NRF_POWER) ? SOPHON_BATTERY_FLAG_USB : 0;

	flags |= charge_flags();

	bool changed;

	K_SPINLOCK(&lock) {
		changed = (state.mv != mv) || (state.flags != flags);
		state.mv = mv;
		state.flags = flags;
		state.at = k_uptime_get();
	}

	/*
	 * Notified only on a real change, not every sample. The pack moves over
	 * hours, so a periodic notify would spend connection events restating a
	 * number nobody needs told again -- while a USB plug or unplug, which
	 * changes what the reading MEANS, propagates in about a second.
	 */
	if (changed) {
		sophon_ble_battery_notify();
	}

	/*
	 * Silent while healthy, like the transmit-counter summary in main.c: the
	 * first reading is logged because it is the one worth checking against a
	 * multimeter -- a wrong divider ratio or an inverted P0.14 yields a
	 * plausible number, not an error -- and after that only a real move is
	 * worth a line. A pack drifting a few mV between samples is not news, and
	 * a line a minute for eight hours would bury anything that is.
	 */
	static bool logged;
	static uint16_t last_logged;

	if (!logged) {
		LOG_INF("battery %u mV%s (first reading)", mv,
			(flags & SOPHON_BATTERY_FLAG_USB)
				? " [USB present -- VBAT net, not necessarily a pack]"
				: " [on battery]");
		logged = true;
		last_logged = mv;
	} else if (abs((int)mv - (int)last_logged) >= LOG_DELTA_MV) {
		LOG_INF("battery %u mV (was %u)%s", mv, last_logged,
			(flags & SOPHON_BATTERY_FLAG_USB) ? " [USB]" : "");
		last_logged = mv;
	}
}

static K_WORK_DEFINE(sample_work, sample_work_handler);

static void sample_timer_expiry(struct k_timer *timer)
{
	ARG_UNUSED(timer);

	/*
	 * Deferred to a work queue because sample_once() sleeps between
	 * conversions, and a timer expiry runs in ISR context where it must not.
	 * Not the SYSTEM work queue: a read holds its queue for about 70 ms, long
	 * enough to time out a LoRa send waiting on the radio's DIO1 work there
	 * (#318).
	 */
	(void)sophon_slow_work_submit(&sample_work);
}

static K_TIMER_DEFINE(sample_timer, sample_timer_expiry, NULL);

/*
 * Watches VBUS and the charger's /CHG between samples, so a plug, an unplug or
 * a charge starting or ending is reflected in about a second rather than at the
 * next 60 s sample.
 *
 * Re-samples rather than merely restamping the flag: the cached voltage was
 * measured under the old power source, and relabelling it without re-measuring
 * would assert that the pack reads whatever the charger's rail happened to be.
 */
static void vbus_work_handler(struct k_work *work)
{
	static uint8_t last_logged = 0xff;

	uint8_t want =
		(nrf_power_usbregstatus_vbusdet_get(NRF_POWER) ? SOPHON_BATTERY_FLAG_USB : 0) |
		charge_flags();
	uint8_t have;
	bool valid;

	ARG_UNUSED(work);

	K_SPINLOCK(&lock) {
		have = state.flags;
		valid = state.mv && state.at >= 0;
	}

	/*
	 * Compared with what was last STORED, not with what this handler saw a
	 * second ago. /CHG bounces when a pack is plugged in -- low, briefly high
	 * while the charger checks for it, low again -- and a re-sample landing on
	 * the high moment stored "not charging". Against its own previous view
	 * this handler then saw nothing new, and the wrong state stood until the
	 * next 60 s sample (seen on hardware, #323). Against the stored flags, any
	 * disagreement re-samples within a second, however the pin bounces.
	 *
	 * Skipped until there is a reading: the periodic and boot samples cover
	 * that, and re-sampling every second after failed reads would not help.
	 */
	if (!valid || want == have) {
		return;
	}

	if (want != last_logged) {
		if ((want ^ have) & SOPHON_BATTERY_FLAG_USB) {
			LOG_INF("USB %s -- re-sampling",
				(want & SOPHON_BATTERY_FLAG_USB) ? "connected" : "disconnected");
		} else {
			LOG_INF("charger %s -- re-sampling", (want & SOPHON_BATTERY_FLAG_CHARGING)
								     ? "charging"
								     : "not charging");
		}
		last_logged = want;
	}
	(void)sophon_slow_work_submit(&sample_work);
}

static K_WORK_DEFINE(vbus_work, vbus_work_handler);

static void vbus_timer_expiry(struct k_timer *timer)
{
	ARG_UNUSED(timer);
	k_work_submit(&vbus_work);
}

static K_TIMER_DEFINE(vbus_timer, vbus_timer_expiry, NULL);

void sophon_battery_read(uint16_t *mv, uint16_t *age_s, uint8_t *flags)
{
	uint16_t held_mv;
	uint8_t held_flags;
	int64_t held_at;

	K_SPINLOCK(&lock) {
		held_mv = state.mv;
		held_flags = state.flags;
		held_at = state.at;
	}

	if (!held_mv || held_at < 0) {
		*mv = 0;
		*age_s = 0;
		*flags = 0;
		return;
	}

	*flags = held_flags;

	*mv = held_mv;

	int64_t age_ms = k_uptime_get() - held_at;

	if (age_ms < 0) {
		age_ms = 0;
	}

	*age_s = (uint16_t)MIN(age_ms / 1000, UINT16_MAX);
}

/*
 * P0.14, the divider's low leg. Owned here rather than handed to the driver via
 * power-gpios, because the driver would release it between samples and there is
 * no safe released state on this board -- see the board overlay. Held ACTIVE for
 * the life of the application (low).
 */
static const struct gpio_dt_spec vbatt_enable = GPIO_DT_SPEC_GET(DT_NODELABEL(vbatt_enable), gpios);

int sophon_battery_init(void)
{
	int err;

	if (!gpio_is_ready_dt(&vbatt_enable)) {
		LOG_WRN("battery enable gpio not ready; voltage unavailable");
		return -ENODEV;
	}

	/*
	 * Driven low here and never touched again. Not a power-saving control:
	 * releasing it puts AIN7 at its 3.6 V absolute maximum.
	 */
	err = gpio_pin_configure_dt(&vbatt_enable, GPIO_OUTPUT_ACTIVE);
	if (err) {
		LOG_WRN("battery enable gpio config failed (%d)", err);
		return err;
	}

	/*
	 * Before the first sample, so even the boot reading carries charge status.
	 * A failure only costs that: the voltage is unaffected.
	 */
	if (gpio_is_ready_dt(&charge_status) &&
	    gpio_pin_configure_dt(&charge_status, GPIO_INPUT) == 0) {
		charge_status_ok = true;
	} else {
		LOG_WRN("charge status pin unavailable; charging will not be reported");
	}

	if (!device_is_ready(vbatt)) {
		LOG_WRN("battery divider not ready; voltage will read as unavailable");
		return -ENODEV;
	}

	/*
	 * First reading taken immediately rather than one period from now, so a
	 * board that has just booted does not report "no reading" for a whole
	 * minute -- which is indistinguishable, from the app, from a board whose
	 * firmware predates this change.
	 */
	(void)sophon_slow_work_submit(&sample_work);
	k_timer_start(&sample_timer, K_MSEC(SOPHON_BATTERY_PERIOD_MS),
		      K_MSEC(SOPHON_BATTERY_PERIOD_MS));
	k_timer_start(&vbus_timer, K_MSEC(SOPHON_BATTERY_VBUS_POLL_MS),
		      K_MSEC(SOPHON_BATTERY_VBUS_POLL_MS));

	return 0;
}
```

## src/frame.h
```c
/*
 * Sophon motion frame — the wire contract with the iOS central.
 *
 * 18 bytes, little-endian. See PROTOCOL.md; the iOS decoder is
 * ios/Sophon/Sophon/BLE/SophonProtocol.swift and must agree byte for byte.
 */

#ifndef SOPHON_FRAME_H
#define SOPHON_FRAME_H

#include <stdint.h>
#include <zephyr/sys/util.h>

#define SOPHON_FRAME_SIZE 18

struct sophon_frame {
	uint16_t seq;  /* wraps at 65535 */
	uint32_t t_ms; /* ms since boot, this board only */
	int16_t ax;    /* milli-g */
	int16_t ay;
	int16_t az;
	int16_t gx; /* centi-deg/s */
	int16_t gy;
	int16_t gz;
} __packed;

BUILD_ASSERT(sizeof(struct sophon_frame) == SOPHON_FRAME_SIZE,
	     "Sophon frame must be exactly 18 bytes on the wire");

/*
 * nRF52840 is little-endian, so the packed struct is already in wire order and
 * the notify path can hand this struct straight to the stack. That is only true
 * on a little-endian target -- assert it rather than assume it, so a future port
 * fails at compile time instead of the phone silently decoding byte-swapped
 * garbage.
 */
BUILD_ASSERT(__BYTE_ORDER__ == __ORDER_LITTLE_ENDIAN__,
	     "Sophon frame is little-endian on the wire; this target is not");

#endif /* SOPHON_FRAME_H */
```

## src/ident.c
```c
#include <stdio.h>
#include <string.h>

#include <zephyr/drivers/hwinfo.h>
#include <zephyr/kernel.h>
#include <zephyr/logging/log.h>

#include "ident.h"

LOG_MODULE_REGISTER(sophon_ident, LOG_LEVEL_INF);

int sophon_device_name(char *buf, size_t len)
{
	uint8_t id[8];
	ssize_t n;
	uint16_t tag;

	if (len < SOPHON_NAME_MAX) {
		return -ENOSPC;
	}

	n = hwinfo_get_device_id(id, sizeof(id));
	if (n <= 0) {
		/*
		 * No FICR id available. Fall back rather than fail: an
		 * unidentifiable board that still advertises is far more useful
		 * during bring-up than one that refuses to start.
		 */
		LOG_WRN("hwinfo unavailable (%d), advertising without chip id", (int)n);
		strcpy(buf, "Sophon");
		return 0;
	}

	/*
	 * Use the LAST two bytes, not the first. hwinfo returns the FICR
	 * DEVICEID big-endian, and the high-order bytes are the least variable
	 * across chips from the same wafer -- taking the low half maximises the
	 * chance that two boards on the bench differ.
	 */
	tag = ((uint16_t)id[n - 2] << 8) | id[n - 1];

	snprintf(buf, len, "Sophon-%04X", tag);
	return 0;
}

int sophon_device_tag(uint16_t *tag)
{
	uint8_t id[8];
	ssize_t n = hwinfo_get_device_id(id, sizeof(id));

	if (n < 2) {
		return -ENODATA;
	}

	/* The same last two bytes as the name above, so a sensor's LoRa id is the
	 * XXXX of its Sophon-XXXX (#303). */
	*tag = ((uint16_t)id[n - 2] << 8) | id[n - 1];
	return 0;
}
```

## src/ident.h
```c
/*
 * Per-chip identity. The same image is flashed to every board, so the advertised
 * name is derived at runtime from the nRF52840's FICR device ID.
 */

#ifndef SOPHON_IDENT_H
#define SOPHON_IDENT_H

#include <stddef.h>
#include <stdint.h>

/* "Sophon-A3F2" + NUL */
#define SOPHON_NAME_MAX 12

/*
 * Writes "Sophon-XXXX" into buf, where XXXX is the low 16 bits of the FICR
 * device ID in uppercase hex. Falls back to the plain "Sophon" if hwinfo is
 * unavailable. Returns 0 on success, or a negative errno if the name did not
 * fit (in which case buf is untouched).
 */
int sophon_device_name(char *buf, size_t len);

/*
 * The 16-bit tag in that name -- the low half of the FICR device id -- as a
 * number, for the LoRa status trailer (#303). -ENODATA without hwinfo.
 */
int sophon_device_tag(uint16_t *tag);

#endif /* SOPHON_IDENT_H */
```
